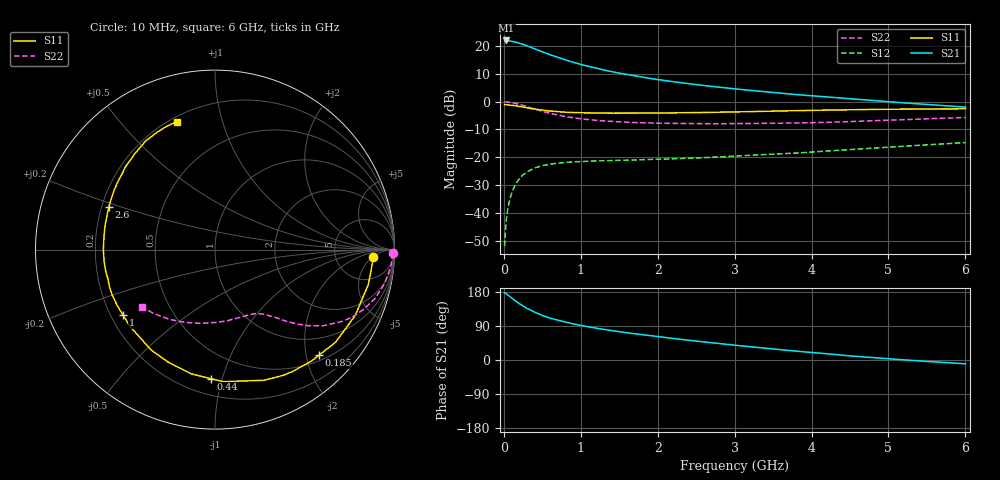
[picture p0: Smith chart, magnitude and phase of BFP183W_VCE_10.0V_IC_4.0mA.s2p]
! Infineon Technologies  Discrete & RF Semiconductors
! BFP183W
! VCE = 10.0V,  IC =  4.0 mA
! Common Emitter S-Parameters:  Jan 2016
# GHz  S  MA  R  50
!  f  S11  S21  S12  S22
! GHz  MAG  ANG  MAG  ANG  MAG  ANG  MAG  ANG
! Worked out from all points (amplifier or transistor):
!   210 points, 10 MHz to 6 GHz, reference 50 ohm
!   highest |S21| = 22.0 dB at 30 MHz (marker M1)
!   |S21| within 3 dB of that: start of sweep to 400 MHz
!   unconditionally stable (mu >= 1): 2.025 GHz to 5.78 GHz
!   at 185 MHz: K = 0.13, MSG = 24.8 dB, |S12| = -28.4 dB
!   at 1.52 GHz: K = 0.81, MSG = 15.6 dB, |S12| = -21.1 dB
!   at 6 GHz: K = 0.98, MSG = 6.4 dB, |S12| = -14.7 dB
!   S11 on the Smith chart (normalised r, x): 10 MHz: 14, -5; 185 MHz: 0.61, -2.25; 440 MHz: 0.31, -0.92; 1 GHz: 0.25, -0.30; 2.6 GHz: 0.23, +0.18; 6 GHz: 0.23, +0.72
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0.01  0.8816 -2.6  12.55 177.3  0.0025 85.0  0.9907 -1.2
0.03  0.8774 -7.8  12.62 175.1  0.007 86.4  0.9876 -3.5
0.1  0.8633 -25.2  12.24 163.8  0.0221 75.7  0.9628 -11.5
0.15  0.8472 -37.5  11.85 156.0  0.032 69.4  0.933 -16.9
0.185  0.8258 -45.4  11.45 151.0  0.0379 65.4  0.9058 -20.1
0.24  0.8052 -57.4  10.85 143.8  0.0466 59.8  0.8633 -25.0
0.3  0.7781 -69.3  10.1 136.2  0.0544 54.0  0.8129 -29.5
0.4  0.7374 -86.4  8.934 126.2  0.0638 46.6  0.7353 -35.3
0.44  0.7192 -91.9  8.493 123.0  0.0664 44.3  0.7085 -36.8
0.5  0.7052 -100.6  7.887 117.6  0.0704 41.2  0.6693 -39.3
0.6  0.6798 -112.3  7 110.7  0.0749 36.9  0.6155 -42.3
0.7  0.6632 -122.4  6.283 104.9  0.0779 33.9  0.5731 -44.6
0.8  0.6442 -130.8  5.629 99.7  0.0803 31.4  0.5392 -46.5
1  0.6286 -144.6  4.662 91.3  0.0832 27.9  0.491 -49.5
1.02  0.6279 -145.8  4.591 90.6  0.0835 27.7  0.4877 -49.7
1.4  0.6186 -164.7  3.468 77.6  0.0871 25.2  0.4408 -54.4
2.02  0.6229 173.3  2.477 61.2  0.0919 26.2  0.4091 -62.9
2.6  0.6376 158.1  1.948 47.7  0.0979 28.9  0.4014 -72.4
3.1  0.6562 146.9  1.646 37.2  0.1062 30.9  0.4019 -81.6
4.1  0.6998 128.5  1.244 18.2  0.1264 33.9  0.4206 -103.0
5.1  0.7303 115.4  0.971 1.8  0.1541 33.7  0.4679 -125.1
6  0.744 106.6  0.797 -10.1  0.1833 31.7  0.5197 -141.9
